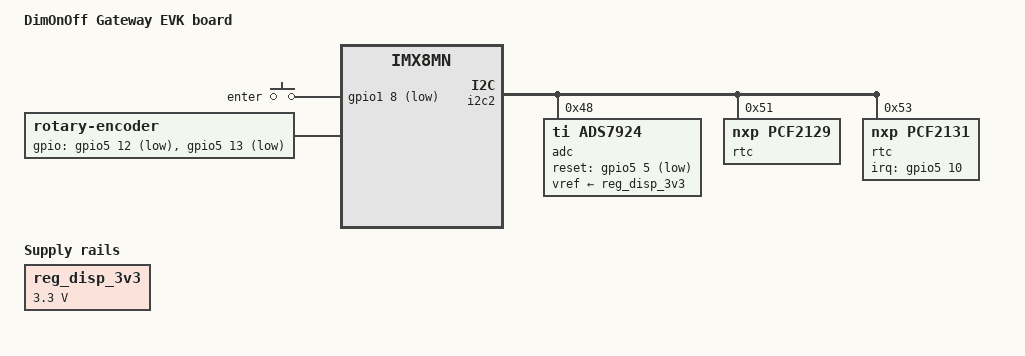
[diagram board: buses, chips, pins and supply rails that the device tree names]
// SPDX-License-Identifier: (GPL-2.0+ OR MIT)
/*
 * Copyright 2022 DimOnOff
 */

/dts-v1/;

#include <dt-bindings/usb/pd.h>
#include "imx8mn-var-som-symphony.dts"

/ {
	model = "DimOnOff Gateway EVK board";
	compatible = "dimonoff,gateway-evk", "variscite,var-som-mx8mn",
		     "fsl,imx8mn";

	/*
	 * U30 FPF2193 regulator.
	 * Source = BASE_PER_3V3 = SOM_3V3 (COM pin 49).
	 */
	reg_disp_3v3: regulator-disp-3v3 {
		compatible = "regulator-fixed";
		regulator-name = "Display 3V3";
		regulator-min-microvolt = <3300000>;
		regulator-max-microvolt = <3300000>;
		regulator-always-on;
		regulator-boot-on;
	};

	gpio-keys {
		compatible = "gpio-keys";
		pinctrl-names = "default";
		pinctrl-0 = <&pinctrl_gpio_keys>;

		key-enter {
			label = "enter";
			gpios = <&gpio1 8 GPIO_ACTIVE_LOW>;
			linux,code = <KEY_ENTER>;
			wakeup-source;
		};
	};

	/* Bourns PEC12R rotary encoder, 24 steps. */
	rotary: rotary-encoder {
		compatible = "rotary-encoder";
		pinctrl-names = "default";
		pinctrl-0 = <&pinctrl_rotary>;
		gpios = <&gpio5 12 GPIO_ACTIVE_LOW>, /* A */
			<&gpio5 13 GPIO_ACTIVE_LOW>; /* B */
		linux,axis = <0>; /* REL_X */
		rotary-encoder,encoding = "gray";
		rotary-encoder,relative-axis;
	};
};

/* Disable Asynchronous Sample Rate Converter (audio) */
&easrc {
	status = "disabled";
};

&ecspi1 {
	/* Resistive touch controller */
	/delete-node/ touchscreen@0;
};

&gpu {
	status = "disabled";
};

&i2c2 {
	adc@48 {
		compatible = "ti,ads7924";
		reg = <0x48>;
		pinctrl-names = "default";
		pinctrl-0 = <&pinctrl_adc>;
		vref-supply = <&reg_disp_3v3>;
		reset-gpios = <&gpio5 5 GPIO_ACTIVE_LOW>;
		#address-cells = <1>;
		#size-cells = <0>;

		channel@0 {
			reg = <0>;
			label = "Pot0";
		};
		channel@1 {
			reg = <1>;
			label = "Pot1";
		};
		channel@2 {
			reg = <2>;
			label = "Pot2";
		};
		channel@3 {
			reg = <3>;
			label = "Pot3";
		};
	};

	rtc@51 {
		compatible = "nxp,pcf2129";
		reg = <0x51>;
		reset-source; /* For watchdog. */
	};

	rtc@53 {
		compatible = "nxp,pcf2131";
		reg = <0x53>;
		pinctrl-names = "default";
		pinctrl-0 = <&pinctrl_rtc>;
		reset-source; /* For watchdog. */
		interrupt-parent = <&gpio5>;
		interrupts = <10 IRQ_TYPE_EDGE_FALLING>; /* J17.6 on EVK */
	};
};

&i2c3 {
	touchscreen@38 {
		status = "disabled";
	};

	codec@1a {
		status = "disabled";
	};

	/* DS1337 RTC module */
	rtc@68 {
		status = "disabled";
	};
};

&sai5 {
	status = "disabled";
};

&iomuxc {
	pinctrl_gpio_keys: gpiokeysgrp {
		fsl,pins = <
			MX8MN_IOMUXC_GPIO1_IO08_GPIO1_IO8	0xc6
		>;
	};

	pinctrl_rotary: rotarygrp {
		fsl,pins = <
			MX8MN_IOMUXC_ECSPI2_MISO_GPIO5_IO12	0x00000156
			MX8MN_IOMUXC_ECSPI2_SS0_GPIO5_IO13	0x00000156
		>;
	};

	pinctrl_adc: adcgrp {
		fsl,pins = <
			MX8MN_IOMUXC_SPDIF_EXT_CLK_GPIO5_IO5	0x00000156
		>;
	};

	pinctrl_rtc: rtcgrp {
		fsl,pins = <
			MX8MN_IOMUXC_ECSPI2_SCLK_GPIO5_IO10	0x00000156
			MX8MN_IOMUXC_ECSPI2_MOSI_GPIO5_IO11	0x00000156
		>;
	};
};
